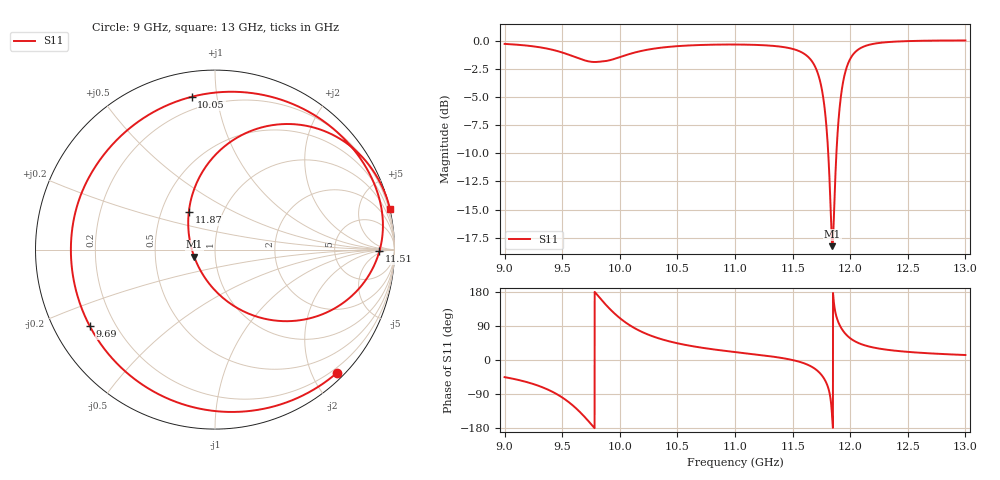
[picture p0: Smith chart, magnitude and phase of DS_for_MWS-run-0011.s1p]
! TOUCHSTONE file generated by CST DESIGN STUDIO
! Date and time: Tue Feb  4 16:19:35 2025
! Project name: C:\Work\MatlabApps\UnitCellOptimizationMatlab\CST\unitcell.cst
! Tree item: Tasks\Sweep1\SPara1\S-Parameters
! Header version: 2024
! Port assignment regex: !\s*Touchstone port\s*([0-9]+)\s*=\s*(CST MWS port|CST DES external port|CST DES block port)\s*(.+)\s* \(\"(.*)\"\)(\s*mode\s*([0-9]+))?.*
! Touchstone port assignment:
! Touchstone port 1 = CST DES external port 1 ("")
# GHz S MA R 50
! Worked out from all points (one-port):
!   4001 points, 9 GHz to 13 GHz, reference 50 ohm
!   lowest |S11| = -18.2 dB at 11.85 GHz (marker M1), VSWR 1.28, Z = 39.5 - j3.17 ohm
!   |S11| at or under -10 dB: 11.81 GHz to 11.88 GHz (70.87 MHz wide, 0.598 % of centre)
!   S11 on the Smith chart (normalised r, x): 9 GHz: 0.12, -2.40; 9.69 GHz: 0.11, -0.28; 10.05 GHz: 0.13, +0.85; 11.51 GHz: 22, -3; 11.87 GHz: 0.69, +0.31; 13 GHz: -0.02, +8.67
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9  0.966 -45.2
9.275  0.9383 -66.0
9.5  0.8849 -98.8
9.598  0.8497 -121.5
9.69  0.8177 -148.6
9.76  0.8039 -172.5
9.826  0.8056 164.0
9.913  0.8177 134.8
10  0.844 110.7
10.052  0.8612 98.7
10.256  0.9134 65.8
10.5  0.9441 44.1
11  0.9599 21.0
11.5  0.918 -0.1
11.507  0.9159 -0.6
11.652  0.8285 -15.5
11.743  0.6462 -36.6
11.798  0.3892 -63.9
11.833  0.1629 -111.5
11.846  0.1225 -161.2
11.872  0.2561 124.7
11.898  0.4392 99.1
11.93  0.618 80.6
12  0.8287 57.4
12.072  0.9136 44.7
12.167  0.958 35.3
12.5  0.994 21.4
13  1 13.2
